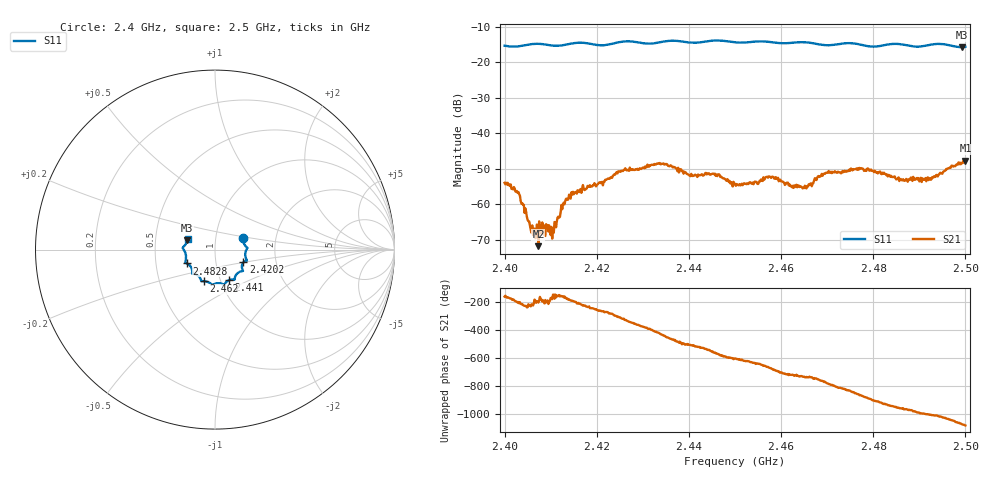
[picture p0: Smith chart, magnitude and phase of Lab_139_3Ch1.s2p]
# Hz S RI R 50
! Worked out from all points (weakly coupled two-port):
!   601 points, 2.4 GHz to 2.5 GHz, reference 50 ohm
!   highest |S21| = -47.81 dB at 2.5 GHz (marker M1); lowest = -71.9 dB at 2.4073 GHz (marker M2)
!   lowest |S11| = -15.8 dB at 2.4993 GHz (marker M3), VSWR 1.39, Z = 36.5 + j3.85 ohm
!   |S11| at or under -10 dB: start of sweep to end of sweep
!   S12 and S22 are empty: the file has one direction only
!   S11 on the Smith chart (normalised r, x): 2.4 GHz: 1.36, +0.18; 2.4202 GHz: 1.36, -0.20; 2.441 GHz: 1.10, -0.39; 2.462 GHz: 0.84, -0.30; 2.4828 GHz: 0.72, -0.11; 2.5 GHz: 0.73, +0.09
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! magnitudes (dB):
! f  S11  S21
! 2.4 GHz  -15.4  -54.0
! 2.4028 GHz  -15.6  -56.9
! 2.4062 GHz  -14.9  -68.7
! 2.4073 GHz  -14.9  -71.9
! 2.4103 GHz  -15.3  -69.8
! 2.4132 GHz  -15.1  -59.1
! 2.4167 GHz  -14.5  -56.8
! 2.4202 GHz  -15.2  -54.5
! 2.4333 GHz  -14.5  -48.5
! 2.441 GHz  -14.6  -52.0
! 2.4462 GHz  -13.9  -52.1
! 2.45 GHz  -14.4  -54.3
! 2.4578 GHz  -14.4  -52.6
! 2.462 GHz  -14.6  -54.9
! 2.4667 GHz  -14.6  -55.0
! 2.4698 GHz  -15.2  -51.1
! 2.4757 GHz  -14.7  -50.1
! 2.4828 GHz  -15.1  -51.9
! 2.4833 GHz  -15.0  -51.8
! 2.492 GHz  -15.2  -53.2
! 2.4993 GHz  -15.8  -48.5
! 2.5 GHz  -15.7  -47.8
